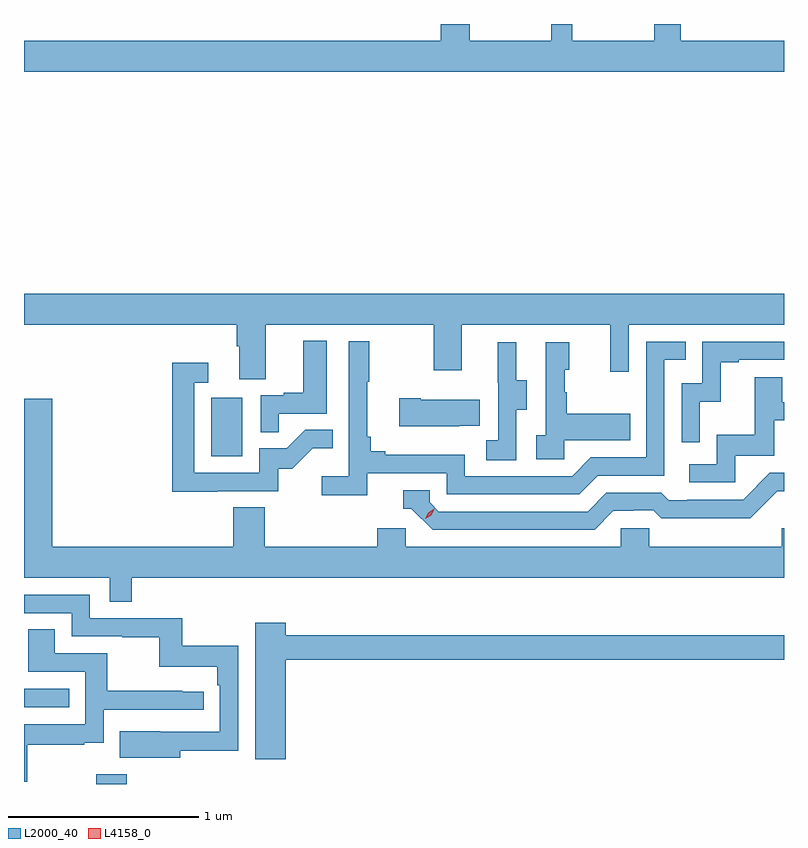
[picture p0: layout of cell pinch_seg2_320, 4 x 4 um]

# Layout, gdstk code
import gdstk
lib = gdstk.Library(unit=1e-6, precision=1e-09)
def R(c, l, rs):  # rectangles x0, y0, x1, y1
    for r in rs: c.add(gdstk.rectangle(r[:2], r[2:], *l))
def P(c, l, *ps):  # polygons
    for p in ps: c.add(gdstk.Polygon(p, *l))
L2000_40 = (2000, 40)
L4158_0 = (4158, 0)

pinch_seg2_320 = lib.new_cell('pinch_seg2_320')
R(pinch_seg2_320, L2000_40, [(911.524,627.903,911.684,627.955), (911.143,628.308,911.381,628.404), (912.128,629.628,912.292,629.935), (913.649,631.901,913.747,631.903)])
P(pinch_seg2_320, L2000_40, [(915.143,631.816),(914.599,631.816),(914.599,631.903),(914.459,631.903),(914.459,631.816),(914.029,631.816),(914.029,631.903),(913.919,631.903),(913.919,631.816),(913.489,631.816),(913.489,631.903),(913.337,631.903),(913.337,631.816),(911.143,631.816),(911.143,631.652),(915.143,631.652)],
  [(912.415,630.32),(913.3,630.32),(913.3,630.081),(913.447,630.081),(913.447,630.32),(914.228,630.32),(914.228,630.072),(914.325,630.072),(914.325,630.32),(915.143,630.32),(915.143,630.484),(911.143,630.484),(911.143,630.32),(912.263,630.32),(912.263,630.208),(912.275,630.208),(912.275,630.034),(912.415,630.034)],
  [(912.485,629.853),(912.736,629.853),(912.736,630.235),(912.614,630.235),(912.614,629.962),(912.511,629.962),(912.511,629.949),(912.39,629.949),(912.39,629.755),(912.485,629.755)],
  [(912.95,629.538),(913.368,629.538),(913.368,629.427),(914.065,629.427),(914.164,629.526),(914.514,629.526),(914.514,630.135),(914.627,630.135),(914.627,630.231),(914.418,630.231),(914.418,629.622),(914.127,629.622),(914.028,629.523),(913.464,629.523),(913.464,629.635),(913.045,629.635),(913.045,629.654),(912.968,629.654),(912.968,629.731),(912.949,629.731),(912.949,630.019),(912.961,630.019),(912.961,630.232),(912.852,630.232),(912.852,629.524),(912.711,629.524),(912.711,629.422),(912.95,629.422)],
  [(914.7,629.915),(914.81,629.915),(914.81,630.123),(914.905,630.123),(914.905,630.135),(915.143,630.135),(915.143,630.231),(914.712,630.231),(914.712,630.012),(914.604,630.012),(914.604,629.703),(914.7,629.703)],
  [(913.734,629.872),(913.789,629.872),(913.789,630.027),(913.735,630.027),(913.735,630.229),(913.637,630.229),(913.637,630.015),(913.638,630.015),(913.638,629.711),(913.575,629.711),(913.575,629.608),(913.734,629.608)],
  [(913.986,629.711),(914.333,629.711),(914.333,629.851),(913.999,629.851),(913.999,629.966),(913.989,629.966),(913.989,630.084),(914.014,630.084),(914.014,630.229),(913.89,630.229),(913.89,629.738),(913.839,629.738),(913.839,629.613),(913.986,629.613)],
  [(912.161,629.445),(912.48,629.445),(912.48,629.562),(912.556,629.562),(912.663,629.669),(912.767,629.669),(912.767,629.768),(912.624,629.768),(912.526,629.67),(912.381,629.67),(912.381,629.541),(912.039,629.541),(912.039,630.015),(912.112,630.015),(912.112,630.121),(911.923,630.121),(911.923,629.44),(912.161,629.44)],
  [(914.886,629.631),(915.091,629.631),(915.091,629.817),(915.143,629.817),(915.143,629.913),(915.133,629.913),(915.133,630.043),(914.989,630.043),(914.989,629.74),(914.79,629.74),(914.79,629.586),(914.643,629.586),(914.643,629.49),(914.886,629.49)],
  [(913.433,629.789),(913.541,629.789),(913.541,629.926),(913.231,629.926),(913.231,629.934),(913.119,629.934),(913.119,629.786),(913.433,629.786)],
  [(911.711,628.988),(915.143,628.988),(915.143,629.25),(915.131,629.25),(915.131,629.152),(914.433,629.152),(914.433,629.25),(914.283,629.25),(914.283,629.152),(913.152,629.152),(913.152,629.25),(913.001,629.25),(913.001,629.152),(912.41,629.152),(912.41,629.36),(912.245,629.36),(912.245,629.152),(911.291,629.152),(911.291,629.931),(911.143,629.931),(911.143,628.988),(911.595,628.988),(911.595,628.861),(911.711,628.861)],
  [(914.245,629.34),(914.352,629.34),(914.352,629.343),(914.455,629.343),(914.497,629.301),(914.73,629.301),(914.73,629.303),(914.966,629.303),(915.108,629.445),(915.143,629.445),(915.143,629.541),(915.069,629.541),(914.928,629.4),(914.635,629.4),(914.635,629.397),(914.536,629.397),(914.497,629.436),(914.208,629.436),(914.109,629.337),(913.326,629.337),(913.278,629.385),(913.278,629.448),(913.139,629.448),(913.139,629.352),(913.182,629.352),(913.293,629.241),(914.146,629.241)],
  [(911.965,628.078),(912.27,628.078),(912.27,628.63),(911.977,628.63),(911.977,628.776),(911.49,628.776),(911.49,628.899),(911.143,628.899),(911.143,628.803),(911.394,628.803),(911.394,628.68),(911.659,628.68),(911.659,628.675),(911.856,628.675),(911.856,628.52),(912.161,628.52),(912.161,628.424),(912.174,628.424),(912.174,628.179),(911.861,628.179),(911.861,628.18),(911.647,628.18),(911.647,628.04),(911.965,628.04)],
  [(912.52,628.558),(915.143,628.558),(915.143,628.687),(912.52,628.687),(912.52,628.753),(912.359,628.753),(912.359,628.032),(912.52,628.032)],
  [(911.161,628.11),(911.459,628.11),(911.459,628.121),(911.562,628.121),(911.562,628.293),(912.088,628.293),(912.088,628.389),(911.975,628.389),(911.975,628.394),(911.582,628.394),(911.582,628.59),(911.305,628.59),(911.305,628.718),(911.165,628.718),(911.165,628.494),(911.466,628.494),(911.466,628.218),(911.143,628.218),(911.143,627.915),(911.161,627.915)])
P(pinch_seg2_320, L4158_0, [(913.255,629.298),(913.255,629.298),(913.271,629.331),(913.302,629.351),(913.302,629.351),(913.302,629.351),(913.286,629.318),(913.255,629.298)])

lib.write_gds('pinch_seg2_320.gds')
